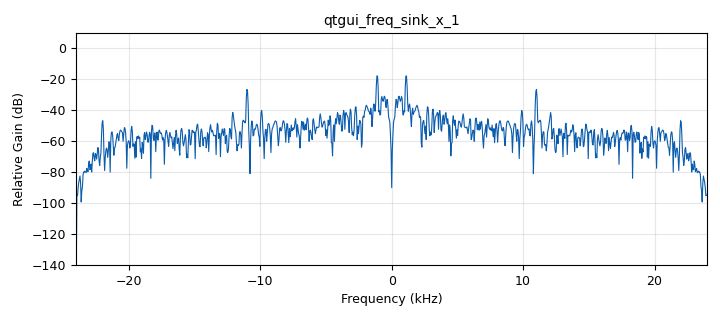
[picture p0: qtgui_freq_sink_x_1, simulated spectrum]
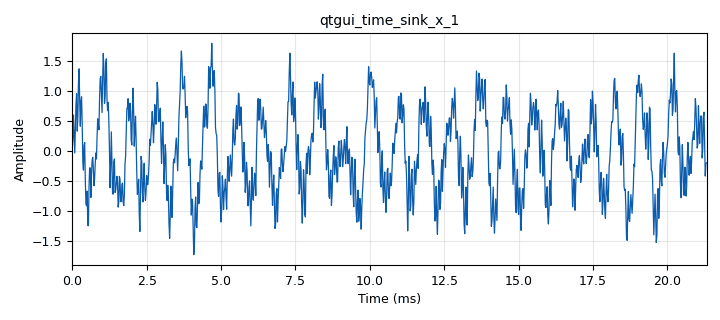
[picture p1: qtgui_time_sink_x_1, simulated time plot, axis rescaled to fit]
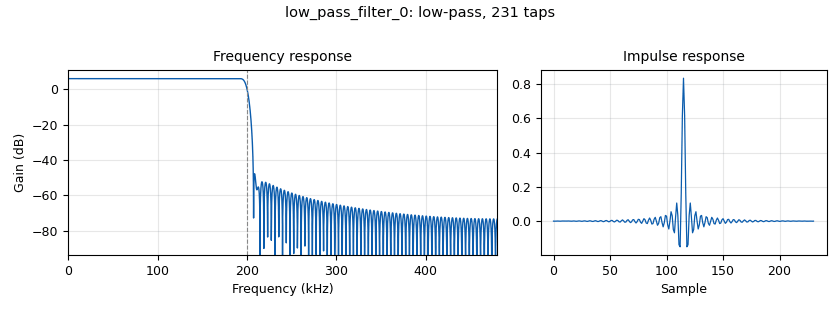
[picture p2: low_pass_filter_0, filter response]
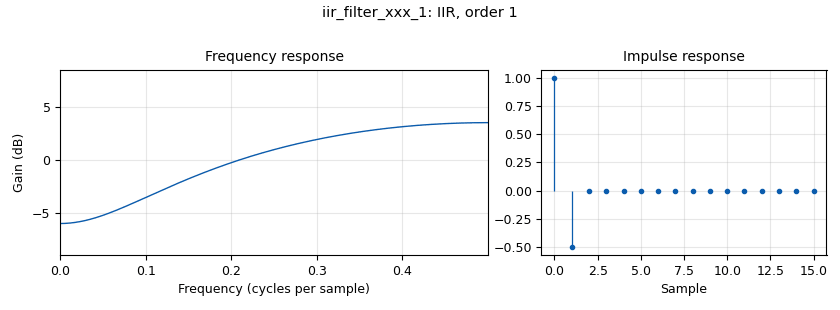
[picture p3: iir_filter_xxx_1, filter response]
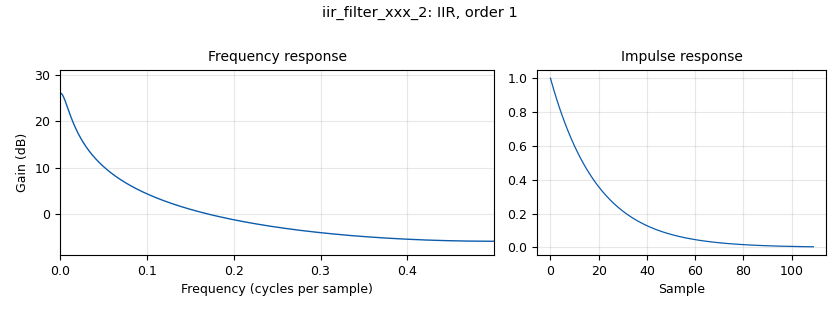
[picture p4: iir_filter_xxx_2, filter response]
options:
  parameters:
    author: aditya
    generate_options: qt_gui
    id: emphasis
    output_language: python
    title: Not titled yet
  states: {}

blocks:
- name: audio_rate
  id: variable
  parameters:
    value: '48000'
  states: {}
- name: quadrature_rate
  id: variable
  parameters:
    value: '960000'
  states: {}
- name: analog_noise_source_x_0
  id: analog_noise_source_x
  parameters:
    amp: '0.2'
    noise_type: analog.GR_GAUSSIAN
    seed: '0'
    type: float
  states: {}
- name: analog_phase_modulator_fc_0
  id: analog_phase_modulator_fc
  parameters:
    sensitivity: 75000 * 2 * 3.141
  states: {}
- name: analog_sig_source_x_0
  id: analog_sig_source_x
  parameters:
    amp: '0.5'
    freq: '1100'
    offset: '0'
    phase: '0'
    samp_rate: audio_rate
    type: float
    waveform: analog.GR_COS_WAVE
  states: {}
- name: analog_sig_source_x_0_0
  id: analog_sig_source_x
  parameters:
    amp: '0.5'
    freq: '11000'
    offset: '0'
    phase: '0'
    samp_rate: audio_rate
    type: float
    waveform: analog.GR_COS_WAVE
  states: {}
- name: analog_sig_source_x_1
  id: analog_sig_source_x
  parameters:
    amp: '1'
    freq: '400000'
    offset: '0'
    phase: '0'
    samp_rate: quadrature_rate
    type: complex
    waveform: analog.GR_COS_WAVE
  states: {}
- name: analog_sig_source_x_1_0
  id: analog_sig_source_x
  parameters:
    amp: '1'
    freq: '400000'
    offset: '0'
    phase: '0'
    samp_rate: quadrature_rate
    type: float
    waveform: analog.GR_COS_WAVE
  states: {}
- name: analog_sig_source_x_1_0_0
  id: analog_sig_source_x
  parameters:
    amp: '1'
    freq: '400000'
    offset: '0'
    phase: '1.57'
    samp_rate: quadrature_rate
    type: float
    waveform: analog.GR_COS_WAVE
  states: {}
- name: blocks_add_xx_0
  id: blocks_add_xx
  parameters:
    type: float
  states: {}
- name: blocks_add_xx_1
  id: blocks_add_xx
  parameters:
    type: float
  states: {}
- name: blocks_complex_to_arg_0
  id: blocks_complex_to_arg
  parameters: {}
  states: {}
- name: blocks_complex_to_real_0
  id: blocks_complex_to_real
  parameters: {}
  states: {}
- name: blocks_conjugate_cc_0
  id: blocks_conjugate_cc
  parameters: {}
  states: {}
- name: blocks_delay_0
  id: blocks_delay
  parameters:
    delay: '1'
    type: complex
  states: {}
- name: blocks_float_to_complex_0
  id: blocks_float_to_complex
  parameters: {}
  states: {}
- name: blocks_multiply_xx_0
  id: blocks_multiply_xx
  parameters:
    type: complex
  states: {}
- name: blocks_multiply_xx_1
  id: blocks_multiply_xx
  parameters:
    type: complex
  states: {}
- name: blocks_multiply_xx_2
  id: blocks_multiply_xx
  parameters:
    type: float
  states: {}
- name: blocks_multiply_xx_2_0
  id: blocks_multiply_xx
  parameters:
    type: float
  states: {}
- name: blocks_throttle_0
  id: blocks_throttle
  parameters:
    samples_per_second: audio_rate
    type: float
  states: {}
- name: dc_blocker_xx_0
  id: dc_blocker_xx
  parameters:
    length: '32'
    long_form: 'True'
    type: ff
  states: {}
- name: iir_filter_xxx_0
  id: iir_filter_xxx
  parameters:
    fbtaps: '[1,1]'
    fftaps: '[1/audio_rate]'
    type: ffd
  states: {}
- name: iir_filter_xxx_1
  id: iir_filter_xxx
  parameters:
    fbtaps: '1'
    fftaps: '[1, -0.5]'
    type: ffd
  states: {}
- name: iir_filter_xxx_2
  id: iir_filter_xxx
  parameters:
    fbtaps: '[1, 0.95]'
    fftaps: '1'
    type: ffd
  states: {}
- name: low_pass_filter_0
  id: low_pass_filter
  parameters:
    cutoff_freq: '200000'
    decim: '1'
    gain: '2'
    samp_rate: quadrature_rate
    type: fir_filter_fff
    width: '10000'
    win: window.WIN_HAMMING
  states: {}
- name: low_pass_filter_0_0
  id: low_pass_filter
  parameters:
    cutoff_freq: '200000'
    decim: '1'
    gain: '2'
    samp_rate: quadrature_rate
    type: fir_filter_fff
    width: '10000'
    win: window.WIN_HAMMING
  states: {}
- name: qtgui_freq_sink_x_1
  id: qtgui_freq_sink_x
  parameters:
    bw: audio_rate
    fc: '0'
    fftsize: '1024'
    type: float
  states: {}
- name: qtgui_time_sink_x_1
  id: qtgui_time_sink_x
  parameters:
    size: '1024'
    srate: audio_rate
    type: float
  states: {}
- name: rational_resampler_xxx_0
  id: rational_resampler_xxx
  parameters:
    decim: audio_rate
    interp: quadrature_rate
    type: fff
  states: {}
- name: rational_resampler_xxx_0_0
  id: rational_resampler_xxx
  parameters:
    decim: quadrature_rate
    interp: audio_rate
    type: fff
  states: {}

connections:
- [analog_noise_source_x_0, '0', blocks_add_xx_1, '0']
- [analog_phase_modulator_fc_0, '0', blocks_multiply_xx_0, '0']
- [analog_sig_source_x_0, '0', blocks_add_xx_0, '0']
- [analog_sig_source_x_0_0, '0', blocks_add_xx_0, '1']
- [analog_sig_source_x_1, '0', blocks_multiply_xx_0, '1']
- [analog_sig_source_x_1_0, '0', blocks_multiply_xx_2, '0']
- [analog_sig_source_x_1_0_0, '0', blocks_multiply_xx_2_0, '1']
- [blocks_add_xx_0, '0', iir_filter_xxx_1, '0']
- [blocks_add_xx_1, '0', blocks_multiply_xx_2, '1']
- [blocks_add_xx_1, '0', blocks_multiply_xx_2_0, '0']
- [blocks_complex_to_arg_0, '0', rational_resampler_xxx_0_0, '0']
- [blocks_complex_to_real_0, '0', blocks_add_xx_1, '1']
- [blocks_conjugate_cc_0, '0', blocks_multiply_xx_1, '0']
- [blocks_delay_0, '0', blocks_conjugate_cc_0, '0']
- [blocks_float_to_complex_0, '0', blocks_delay_0, '0']
- [blocks_float_to_complex_0, '0', blocks_multiply_xx_1, '1']
- [blocks_multiply_xx_0, '0', blocks_complex_to_real_0, '0']
- [blocks_multiply_xx_1, '0', blocks_complex_to_arg_0, '0']
- [blocks_multiply_xx_2, '0', low_pass_filter_0, '0']
- [blocks_multiply_xx_2_0, '0', low_pass_filter_0_0, '0']
- [blocks_throttle_0, '0', qtgui_freq_sink_x_1, '0']
- [blocks_throttle_0, '0', qtgui_time_sink_x_1, '0']
- [dc_blocker_xx_0, '0', iir_filter_xxx_2, '0']
- [iir_filter_xxx_0, '0', rational_resampler_xxx_0, '0']
- [iir_filter_xxx_1, '0', iir_filter_xxx_0, '0']
- [iir_filter_xxx_2, '0', blocks_throttle_0, '0']
- [low_pass_filter_0, '0', blocks_float_to_complex_0, '0']
- [low_pass_filter_0_0, '0', blocks_float_to_complex_0, '1']
- [rational_resampler_xxx_0, '0', analog_phase_modulator_fc_0, '0']
- [rational_resampler_xxx_0_0, '0', dc_blocker_xx_0, '0']

metadata:
  file_format: 1
